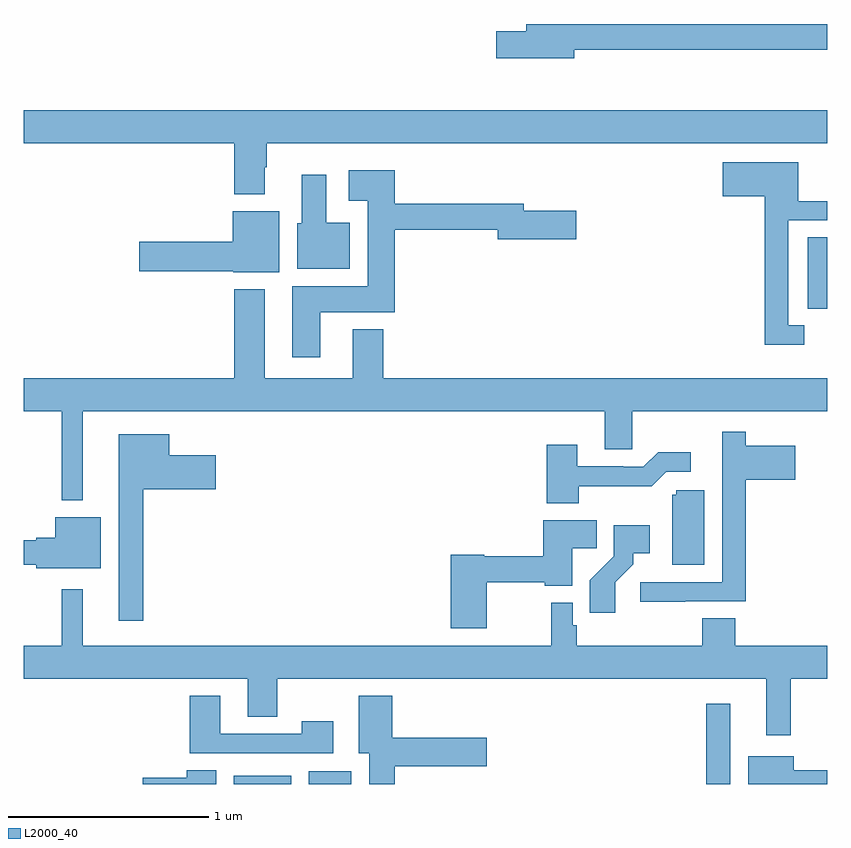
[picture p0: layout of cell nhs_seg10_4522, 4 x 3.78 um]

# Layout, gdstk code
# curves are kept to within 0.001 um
import gdstk
lib = gdstk.Library(unit=1e-6, precision=1e-09)
def R(c, l, rs):  # rectangles x0, y0, x1, y1
    for r in rs: c.add(gdstk.rectangle(r[:2], r[2:], *l))
def P(c, l, *ps):  # polygons
    for p in ps: c.add(gdstk.Polygon(p, *l))
L2000_40 = (2000, 40)

nhs_seg10_4522 = lib.new_cell('nhs_seg10_4522')
R(nhs_seg10_4522, L2000_40, [(370.046,1258.5,370.333,1258.54), (370.418,1258.5,370.63,1258.564), (372.396,1258.5,372.517,1258.9), (372.902,1260.864,373,1261.22)])
P(nhs_seg10_4522, L2000_40, [(371.74,1262.154),(373,1262.154),(373,1262.282),(371.501,1262.282),(371.501,1262.246),(371.352,1262.246),(371.352,1262.111),(371.74,1262.111)],
  [(370.201,1261.568),(370.209,1261.568),(370.209,1261.688),(373,1261.688),(373,1261.852),(369,1261.852),(369,1261.688),(370.049,1261.688),(370.049,1261.436),(370.201,1261.436)],
  [(372.886,1260.783),(372.804,1260.783),(372.804,1261.305),(373,1261.305),(373,1261.401),(372.856,1261.401),(372.856,1261.594),(372.48,1261.594),(372.48,1261.424),(372.688,1261.424),(372.688,1260.686),(372.886,1260.686)],
  [(370.477,1260.848),(370.847,1260.848),(370.847,1261.258),(371.36,1261.258),(371.36,1261.211),(371.749,1261.211),(371.749,1261.353),(371.488,1261.353),(371.488,1261.387),(370.847,1261.387),(370.847,1261.555),(370.617,1261.555),(370.617,1261.403),(370.712,1261.403),(370.712,1260.976),(370.337,1260.976),(370.337,1260.624),(370.477,1260.624)],
  [(370.624,1261.294),(370.507,1261.294),(370.507,1261.531),(370.385,1261.531),(370.385,1261.29),(370.361,1261.29),(370.361,1261.064),(370.624,1261.064)],
  [(370.273,1261.351),(370.04,1261.351),(370.04,1261.199),(369.576,1261.199),(369.576,1261.052),(370.044,1261.052),(370.044,1261.046),(370.273,1261.046)],
  [(369.295,1260.356),(371.891,1260.356),(371.891,1260.166),(372.03,1260.166),(372.03,1260.356),(373,1260.356),(373,1260.52),(370.79,1260.52),(370.79,1260.763),(370.637,1260.763),(370.637,1260.52),(370.201,1260.52),(370.201,1260.961),(370.049,1260.961),(370.049,1260.52),(369,1260.52),(369,1260.356),(369.191,1260.356),(369.191,1259.912),(369.295,1259.912)],
  [(372.293,1259.409),(372.593,1259.409),(372.593,1260.014),(372.841,1260.014),(372.841,1260.184),(372.593,1260.184),(372.593,1260.253),(372.476,1260.253),(372.476,1260.03),(372.477,1260.03),(372.477,1259.505),(372.069,1259.505),(372.069,1259.407),(372.293,1259.407)],
  [(369.595,1259.966),(369.955,1259.966),(369.955,1260.136),(369.724,1260.136),(369.724,1260.241),(369.473,1260.241),(369.473,1259.313),(369.595,1259.313)],
  [(371.763,1259.982),(372.125,1259.981),(372.198,1260.054),(372.319,1260.054),(372.319,1260.151),(372.157,1260.151),(372.084,1260.078),(371.984,1260.078),(371.984,1260.081),(371.755,1260.081),(371.755,1260.187),(371.603,1260.187),(371.603,1259.897),(371.763,1259.897)],
  [(372.388,1259.961),(372.249,1259.961),(372.249,1259.94),(372.227,1259.94),(372.227,1259.592),(372.388,1259.592)],
  [(369.385,1259.827),(369.158,1259.827),(369.158,1259.726),(369.062,1259.726),(369.062,1259.713),(369,1259.713),(369,1259.591),(369.062,1259.591),(369.062,1259.573),(369.385,1259.573)],
  [(371.304,1259.505),(371.594,1259.505),(371.594,1259.486),(371.731,1259.486),(371.731,1259.674),(371.852,1259.674),(371.852,1259.812),(371.587,1259.812),(371.587,1259.633),(371.292,1259.633),(371.292,1259.641),(371.126,1259.641),(371.126,1259.274),(371.304,1259.274)],
  [(371.944,1259.503),(372.034,1259.593),(372.034,1259.648),(372.115,1259.648),(372.115,1259.788),(371.937,1259.788),(371.937,1259.633),(371.818,1259.514),(371.818,1259.352),(371.944,1259.352)],
  [(372.817,1259.024),(373,1259.024),(373,1259.188),(372.542,1259.188),(372.542,1259.324),(372.377,1259.324),(372.377,1259.188),(371.753,1259.188),(371.753,1259.289),(371.733,1259.289),(371.733,1259.401),(371.625,1259.401),(371.625,1259.188),(369.295,1259.188),(369.295,1259.47),(369.191,1259.47),(369.191,1259.188),(369,1259.188),(369,1259.024),(370.115,1259.024),(370.115,1258.834),(370.263,1258.834),(370.263,1259.024),(372.695,1259.024),(372.695,1258.743),(372.817,1258.743)],
  [(370.847,1258.589),(371.305,1258.589),(371.305,1258.731),(370.834,1258.731),(370.834,1258.939),(370.667,1258.939),(370.667,1258.652),(370.721,1258.652),(370.721,1258.5),(370.847,1258.5)],
  [(370.54,1258.813),(370.384,1258.813),(370.384,1258.749),(369.979,1258.749),(369.979,1258.939),(369.827,1258.939),(369.827,1258.653),(370.54,1258.653)],
  [(373,1258.569),(372.832,1258.569),(372.832,1258.639),(372.605,1258.639),(372.605,1258.5),(373,1258.5)],
  [(369.958,1258.568),(369.812,1258.568),(369.812,1258.532),(369.594,1258.532),(369.594,1258.5),(369.958,1258.5)])

lib.write_gds('nhs_seg10_4522.gds')
